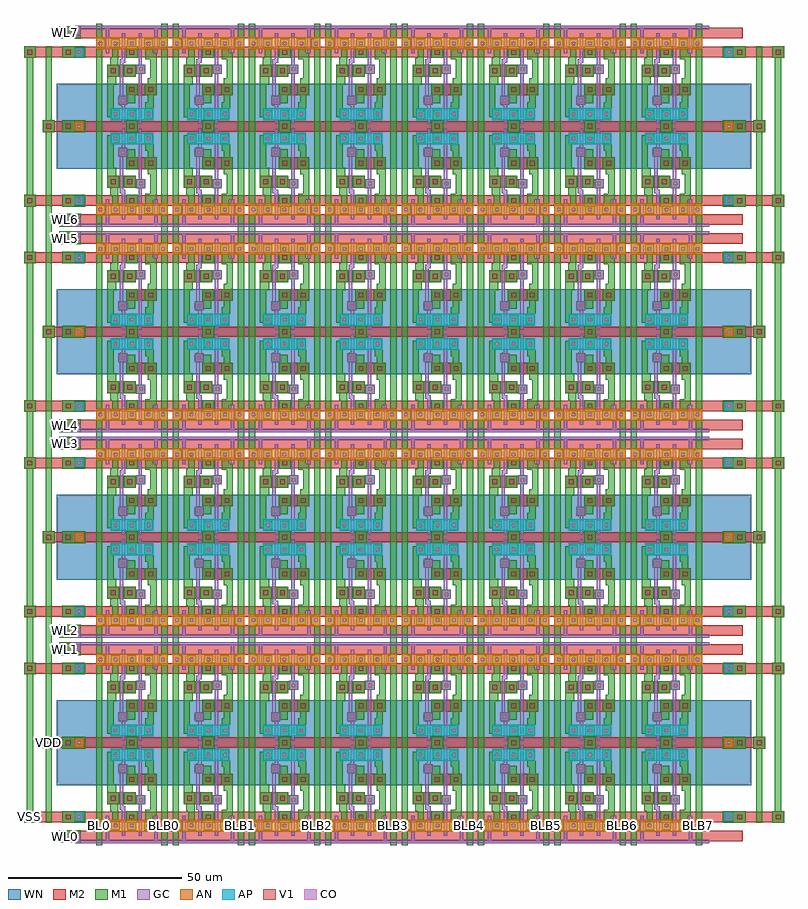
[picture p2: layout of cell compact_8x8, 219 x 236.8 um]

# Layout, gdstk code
import gdstk
lib = gdstk.Library(unit=1e-6, precision=1e-07)
def R(c, l, rs):  # rectangles x0, y0, x1, y1
    for r in rs: c.add(gdstk.rectangle(r[:2], r[2:], *l))
def A(c, l, x, y, w, h, nx, ny, dx, dy):  # array of equal rectangles
    R(c, l, [(x+i*dx, y+j*dy, x+i*dx+w, y+j*dy+h) for i in range(nx) for j in range(ny)])
def P(c, l, *ps):  # polygons
    for p in ps: c.add(gdstk.Polygon(p, *l))
AP = (3, 1)
AN = (3, 2)
GC = (8, 1)
CO = (11, 0)
M1 = (13, 0)
V1 = (19, 0)
M2 = (20, 0)
WN = (140, 0)

compact_core = lib.new_cell('compact_core')
R(compact_core, AP, [(3.5,18.7,15.7,22.1)])
R(compact_core, AN, [(-0.7,-1.7,19.9,1.7)])
R(compact_core, GC, [(0,-5.1,22,-4.1), (2.1,-5.1,3.1,2.9), (16.1,-5.1,17.1,2.9), (6.7,-2.9,7.7,5.6), (11.5,-2.9,12.5,23.3), (6.1,4.6,7.7,5.6), (6.1,4.6,7.1,17.9), (10.9,6.1,13.5,8.7), (11.5,6.9,12.7,7.9), (5.7,15.1,8.3,17.7), (6.1,15.9,7.5,16.9), (6.1,16.9,7.7,17.9), (6.7,16.9,7.7,23.3)])
A(compact_core, CO, 4.3, -0.5, 1, 1, 3, 2, 4.8, 20.4)
R(compact_core, CO, [(0.1,-0.5,1.1,0.5), (18.1,-0.5,19.1,0.5), (11.7,6.9,12.7,7.9), (6.5,15.9,7.5,16.9)])
P(compact_core, M1, [(8.3,-1.3),(8.3,0.8),(7.9,0.8),(7.9,4.2),(11.3,4.2),(11.3,0.8),(10.9,0.8),(10.9,-1.3)],
  [(10.9,6.1),(10.9,6.2),(7.3,6.2),(7.3,9.6),(10.7,9.6),(10.7,8.7),(13.5,8.7),(13.5,6.1)],
  [(7.9,11.6),(7.9,15.1),(5.7,15.1),(5.7,17.7),(8.3,17.7),(8.3,17.3),(10.5,17.3),(10.5,15),(11.3,15),(11.3,11.6)],
  [(3.5,-1.3),(3.5,1.3),(3.9,1.3),(3.9,4.1),(3.3,4.1),(3.3,6.2),(2.5,6.2),(2.5,21.3),(3.5,21.3),(3.5,21.7),(6.1,21.7),(6.1,19.1),(4.3,19.1),(4.3,11.9),(5.1,11.9),(5.1,9.6),(5.9,9.6),(5.9,6.2),(5.7,6.2),(5.7,1.3),(6.1,1.3),(6.1,-1.3)],
  [(13.1,-1.3),(13.1,1.3),(13.5,1.3),(13.5,4.5),(14.9,4.5),(14.9,10.1),(14.1,10.1),(14.1,11.6),(13.3,11.6),(13.3,15),(14.1,15),(14.1,16.9),(13.5,16.9),(13.5,19.1),(13.1,19.1),(13.1,21.7),(15.7,21.7),(15.7,18.7),(15.9,18.7),(15.9,15),(16.7,15),(16.7,2.7),(15.7,2.7),(15.7,-1.3)],
  [(-0.7,-5.7),(-0.7,23.9),(1.1,23.9),(1.1,1.3),(1.9,1.3),(1.9,-1.3),(1.1,-1.3),(1.1,-5.7)],
  [(18.1,-5.7),(18.1,-1.3),(17.3,-1.3),(17.3,1.3),(18.1,1.3),(18.1,23.9),(19.9,23.9),(19.9,-5.7)],
  [(8.3,19.1),(8.3,22.2),(7.9,22.2),(7.9,25.6),(11.3,25.6),(11.3,22.2),(10.9,22.2),(10.9,19.1)])
R(compact_core, V1, [(8.9,1.8,10.3,3.2), (3.5,7.2,4.9,8.6), (8.3,7.2,9.7,8.6), (8.9,12.6,10.3,14), (14.3,12.6,15.7,14), (8.9,23.2,10.3,24.6)])
R(compact_core, M2, [(0,-4.5,22,-1.5), (7.9,0.8,11.3,4.2), (0,1,22,4), (2.5,6.2,5.9,9.6), (2.5,6.2,10.7,9.6), (7.3,6.2,10.7,9.6), (7.9,11.6,11.3,15), (7.9,11.6,16.7,15), (13.3,11.6,16.7,15), (7.9,22.2,11.3,25.6), (0,22.4,22,25.4)])
R(compact_core, WN, [(-3.5,11.7,25.5,29.1)])

compact_8x8 = lib.new_cell('compact_8x8')
R(compact_8x8, AP, [(-6.9,6.9,-4.3,9.5), (180.3,6.9,182.9,9.5), (-6.9,49.7,-4.3,52.3), (180.3,49.7,182.9,52.3), (-6.9,66.1,-4.3,68.7), (180.3,66.1,182.9,68.7), (-6.9,108.9,-4.3,111.5), (180.3,108.9,182.9,111.5), (-6.9,125.3,-4.3,127.9), (180.3,125.3,182.9,127.9), (-6.9,168.1,-4.3,170.7), (180.3,168.1,182.9,170.7), (-6.9,184.5,-4.3,187.1), (180.3,184.5,182.9,187.1), (-6.9,227.3,-4.3,229.9), (180.3,227.3,182.9,229.9)])
A(compact_8x8, AN, -6.9, 28.3, 2.6, 2.6, 1, 4, 0, 59.2)
A(compact_8x8, AN, 180.3, 28.3, 2.6, 2.6, 1, 4, 0, 59.2)
R(compact_8x8, GC, [(-6.9,0.6,-5.9,2.5), (-6.4,0.6,0,1.6), (-7.7,0.7,-5.1,3.3), (-7.7,55.9,-5.1,58.5), (-6.9,56.7,-5.9,58.6), (-6.4,57.6,0,58.6), (-6.9,59.8,-5.9,61.7), (-6.4,59.8,0,60.8), (-7.7,59.9,-5.1,62.5), (-7.7,115.1,-5.1,117.7), (-6.9,115.9,-5.9,117.8), (-6.4,116.8,0,117.8), (-6.9,119,-5.9,120.9), (-6.4,119,0,120), (-7.7,119.1,-5.1,121.7), (-7.7,174.3,-5.1,176.9), (-6.9,175.1,-5.9,177), (-6.4,176,0,177), (-6.9,178.2,-5.9,180.1), (-6.4,178.2,0,179.2), (-7.7,178.3,-5.1,180.9), (-7.7,233.5,-5.1,236.1), (-6.9,234.3,-5.9,236.2), (-6.4,235.2,0,236.2)])
A(compact_8x8, CO, -6.1, 7.7, 1, 1, 1, 3, 0, 21.4)
A(compact_8x8, CO, 181.1, 7.7, 1, 1, 1, 3, 0, 21.4)
A(compact_8x8, CO, -6.1, 66.9, 1, 1, 1, 3, 0, 21.4)
A(compact_8x8, CO, 181.1, 66.9, 1, 1, 1, 3, 0, 21.4)
A(compact_8x8, CO, -6.1, 126.1, 1, 1, 1, 3, 0, 21.4)
A(compact_8x8, CO, 181.1, 126.1, 1, 1, 1, 3, 0, 21.4)
A(compact_8x8, CO, -6.1, 185.3, 1, 1, 1, 3, 0, 21.4)
A(compact_8x8, CO, 181.1, 185.3, 1, 1, 1, 3, 0, 21.4)
R(compact_8x8, CO, [(-6.9,1.5,-5.9,2.5), (-6.9,56.7,-5.9,57.7), (-6.9,60.7,-5.9,61.7), (-6.9,115.9,-5.9,116.9), (-6.9,119.9,-5.9,120.9), (-6.9,175.1,-5.9,176.1), (-6.9,179.1,-5.9,180.1), (-6.9,234.3,-5.9,235.3)])
A(compact_8x8, M1, -10.5, 6.5, 6.6, 3.4, 1, 3, 0, 21.4)
A(compact_8x8, M1, -10.5, 6.5, 3.4, 3.4, 1, 3, 0, 21.4)
A(compact_8x8, M1, 179.9, 6.5, 6.6, 3.4, 1, 3, 0, 21.4)
A(compact_8x8, M1, 183.1, 6.5, 3.4, 3.4, 1, 3, 0, 21.4)
A(compact_8x8, M1, -6.9, 6.9, 2.6, 2.6, 1, 3, 0, 21.4)
A(compact_8x8, M1, 180.3, 6.9, 2.6, 2.6, 1, 3, 0, 21.4)
A(compact_8x8, M1, -16.1, 27.9, 3.4, 3.4, 1, 4, 0, 59.2)
A(compact_8x8, M1, 188.7, 27.9, 3.4, 3.4, 1, 4, 0, 59.2)
A(compact_8x8, M1, -10.5, 65.7, 6.6, 3.4, 1, 3, 0, 21.4)
A(compact_8x8, M1, -10.5, 65.7, 3.4, 3.4, 1, 3, 0, 21.4)
A(compact_8x8, M1, 179.9, 65.7, 6.6, 3.4, 1, 3, 0, 21.4)
A(compact_8x8, M1, 183.1, 65.7, 3.4, 3.4, 1, 3, 0, 21.4)
A(compact_8x8, M1, -6.9, 66.1, 2.6, 2.6, 1, 3, 0, 21.4)
A(compact_8x8, M1, 180.3, 66.1, 2.6, 2.6, 1, 3, 0, 21.4)
A(compact_8x8, M1, -10.5, 124.9, 6.6, 3.4, 1, 3, 0, 21.4)
A(compact_8x8, M1, -10.5, 124.9, 3.4, 3.4, 1, 3, 0, 21.4)
A(compact_8x8, M1, 179.9, 124.9, 6.6, 3.4, 1, 3, 0, 21.4)
A(compact_8x8, M1, 183.1, 124.9, 3.4, 3.4, 1, 3, 0, 21.4)
A(compact_8x8, M1, -6.9, 125.3, 2.6, 2.6, 1, 3, 0, 21.4)
A(compact_8x8, M1, 180.3, 125.3, 2.6, 2.6, 1, 3, 0, 21.4)
A(compact_8x8, M1, -10.5, 184.1, 6.6, 3.4, 1, 3, 0, 21.4)
A(compact_8x8, M1, -10.5, 184.1, 3.4, 3.4, 1, 3, 0, 21.4)
A(compact_8x8, M1, 179.9, 184.1, 6.6, 3.4, 1, 3, 0, 21.4)
A(compact_8x8, M1, 183.1, 184.1, 3.4, 3.4, 1, 3, 0, 21.4)
A(compact_8x8, M1, -6.9, 184.5, 2.6, 2.6, 1, 3, 0, 21.4)
A(compact_8x8, M1, 180.3, 184.5, 2.6, 2.6, 1, 3, 0, 21.4)
R(compact_8x8, M1, [(-11.3,0.7,-5.1,4.4), (-7.7,0.7,-5.1,3.3), (-11.3,1,-7.9,4.4), (-21.5,6.5,-18.1,9.9), (-20.7,6.5,-18.9,230.3), (-15.3,6.5,-13.5,230.3), (189.5,6.5,191.3,230.3), (194.1,6.5,197.5,9.9), (194.9,6.5,196.7,230.3), (-21.5,49.3,-18.1,52.7), (194.1,49.3,197.5,52.7), (-11.3,54.8,-7.9,58.2), (-11.3,54.8,-5.1,58.5), (-7.7,55.9,-5.1,58.5), (-11.3,59.9,-5.1,63.6), (-7.7,59.9,-5.1,62.5), (-11.3,60.2,-7.9,63.6), (-21.5,65.7,-18.1,69.1), (194.1,65.7,197.5,69.1), (-21.5,108.5,-18.1,111.9), (194.1,108.5,197.5,111.9), (-11.3,114,-7.9,117.4), (-11.3,114,-5.1,117.7), (-7.7,115.1,-5.1,117.7), (-11.3,119.1,-5.1,122.8), (-7.7,119.1,-5.1,121.7), (-11.3,119.4,-7.9,122.8), (-21.5,124.9,-18.1,128.3), (194.1,124.9,197.5,128.3), (-21.5,167.7,-18.1,171.1), (194.1,167.7,197.5,171.1), (-11.3,173.2,-7.9,176.6), (-11.3,173.2,-5.1,176.9), (-7.7,174.3,-5.1,176.9), (-11.3,178.3,-5.1,182), (-7.7,178.3,-5.1,180.9), (-11.3,178.6,-7.9,182), (-21.5,184.1,-18.1,187.5), (194.1,184.1,197.5,187.5), (-21.5,226.9,-18.1,230.3), (194.1,226.9,197.5,230.3), (-11.3,232.4,-7.9,235.8), (-11.3,232.4,-5.1,236.1), (-7.7,233.5,-5.1,236.1)])
A(compact_8x8, V1, -9.5, 7.5, 1.4, 1.4, 1, 3, 0, 21.4)
A(compact_8x8, V1, 184.1, 7.5, 1.4, 1.4, 1, 3, 0, 21.4)
A(compact_8x8, V1, -15.1, 28.9, 1.4, 1.4, 1, 4, 0, 59.2)
A(compact_8x8, V1, 189.7, 28.9, 1.4, 1.4, 1, 4, 0, 59.2)
A(compact_8x8, V1, -9.5, 66.7, 1.4, 1.4, 1, 3, 0, 21.4)
A(compact_8x8, V1, 184.1, 66.7, 1.4, 1.4, 1, 3, 0, 21.4)
A(compact_8x8, V1, -9.5, 125.9, 1.4, 1.4, 1, 3, 0, 21.4)
A(compact_8x8, V1, 184.1, 125.9, 1.4, 1.4, 1, 3, 0, 21.4)
A(compact_8x8, V1, -9.5, 185.1, 1.4, 1.4, 1, 3, 0, 21.4)
A(compact_8x8, V1, 184.1, 185.1, 1.4, 1.4, 1, 3, 0, 21.4)
R(compact_8x8, V1, [(-10.3,2,-8.9,3.4), (-20.5,7.5,-19.1,8.9), (195.1,7.5,196.5,8.9), (-20.5,50.3,-19.1,51.7), (195.1,50.3,196.5,51.7), (-10.3,55.8,-8.9,57.2), (-10.3,61.2,-8.9,62.6), (-20.5,66.7,-19.1,68.1), (195.1,66.7,196.5,68.1), (-20.5,109.5,-19.1,110.9), (195.1,109.5,196.5,110.9), (-10.3,115,-8.9,116.4), (-10.3,120.4,-8.9,121.8), (-20.5,125.9,-19.1,127.3), (195.1,125.9,196.5,127.3), (-20.5,168.7,-19.1,170.1), (195.1,168.7,196.5,170.1), (-10.3,174.2,-8.9,175.6), (-10.3,179.6,-8.9,181), (-20.5,185.1,-19.1,186.5), (195.1,185.1,196.5,186.5), (-20.5,227.9,-19.1,229.3), (195.1,227.9,196.5,229.3), (-10.3,233.4,-8.9,234.8)])
A(compact_8x8, M2, -10.5, 6.5, 3.4, 3.4, 1, 3, 0, 21.4)
A(compact_8x8, M2, 183.1, 6.5, 3.4, 3.4, 1, 3, 0, 21.4)
A(compact_8x8, M2, -16.1, 27.9, 3.4, 3.4, 1, 4, 0, 59.2)
A(compact_8x8, M2, 188.7, 27.9, 3.4, 3.4, 1, 4, 0, 59.2)
A(compact_8x8, M2, -16.1, 28.1, 193.8, 3, 1, 4, 0, 59.2)
A(compact_8x8, M2, -1.7, 28.1, 193.8, 3, 1, 4, 0, 59.2)
A(compact_8x8, M2, -10.5, 65.7, 3.4, 3.4, 1, 3, 0, 21.4)
A(compact_8x8, M2, 183.1, 65.7, 3.4, 3.4, 1, 3, 0, 21.4)
A(compact_8x8, M2, -10.5, 124.9, 3.4, 3.4, 1, 3, 0, 21.4)
A(compact_8x8, M2, 183.1, 124.9, 3.4, 3.4, 1, 3, 0, 21.4)
A(compact_8x8, M2, -10.5, 184.1, 3.4, 3.4, 1, 3, 0, 21.4)
A(compact_8x8, M2, 183.1, 184.1, 3.4, 3.4, 1, 3, 0, 21.4)
R(compact_8x8, M2, [(-11.3,1,-7.9,4.4), (-9.6,1.2,185.6,4.2), (-21.5,6.5,-18.1,9.9), (194.1,6.5,197.5,9.9), (-21.5,6.7,177.7,9.7), (-1.7,6.7,197.5,9.7), (-21.5,49.3,-18.1,52.7), (194.1,49.3,197.5,52.7), (-21.5,49.5,177.7,52.5), (-1.7,49.5,197.5,52.5), (-11.3,54.8,-7.9,58.2), (-9.6,55,185.6,58), (-11.3,60.2,-7.9,63.6), (-9.6,60.4,185.6,63.4), (-21.5,65.7,-18.1,69.1), (194.1,65.7,197.5,69.1), (-21.5,65.9,177.7,68.9), (-1.7,65.9,197.5,68.9), (-21.5,108.5,-18.1,111.9), (194.1,108.5,197.5,111.9), (-21.5,108.7,177.7,111.7), (-1.7,108.7,197.5,111.7), (-11.3,114,-7.9,117.4), (-9.6,114.2,185.6,117.2), (-11.3,119.4,-7.9,122.8), (-9.6,119.6,185.6,122.6), (-21.5,124.9,-18.1,128.3), (194.1,124.9,197.5,128.3), (-21.5,125.1,177.7,128.1), (-1.7,125.1,197.5,128.1), (-21.5,167.7,-18.1,171.1), (194.1,167.7,197.5,171.1), (-21.5,167.9,177.7,170.9), (-1.7,167.9,197.5,170.9), (-11.3,173.2,-7.9,176.6), (-9.6,173.4,185.6,176.4), (-11.3,178.6,-7.9,182), (-9.6,178.8,185.6,181.8), (-21.5,184.1,-18.1,187.5), (194.1,184.1,197.5,187.5), (-21.5,184.3,177.7,187.3), (-1.7,184.3,197.5,187.3), (-21.5,226.9,-18.1,230.3), (194.1,226.9,197.5,230.3), (-21.5,227.1,177.7,230.1), (-1.7,227.1,197.5,230.1), (-11.3,232.4,-7.9,235.8), (-9.6,232.6,185.6,235.6)])
A(compact_8x8, WN, -12, 17.4, 200, 24.4, 1, 4, 0, 59.2)
A(compact_8x8, WN, 0, 17.4, 188, 24.4, 1, 4, 0, 59.2)
compact_8x8.add(gdstk.Reference(compact_core, (0,5.7)))
compact_8x8.add(gdstk.Reference(compact_core, (22,5.7)))
compact_8x8.add(gdstk.Reference(compact_core, (44,5.7)))
compact_8x8.add(gdstk.Reference(compact_core, (66,5.7)))
compact_8x8.add(gdstk.Reference(compact_core, (88,5.7)))
compact_8x8.add(gdstk.Reference(compact_core, (110,5.7)))
compact_8x8.add(gdstk.Reference(compact_core, (132,5.7)))
compact_8x8.add(gdstk.Reference(compact_core, (154,5.7)))
compact_8x8.add(gdstk.Reference(compact_core, (0,53.5), x_reflection=True))
compact_8x8.add(gdstk.Reference(compact_core, (22,53.5), x_reflection=True))
compact_8x8.add(gdstk.Reference(compact_core, (44,53.5), x_reflection=True))
compact_8x8.add(gdstk.Reference(compact_core, (66,53.5), x_reflection=True))
compact_8x8.add(gdstk.Reference(compact_core, (88,53.5), x_reflection=True))
compact_8x8.add(gdstk.Reference(compact_core, (110,53.5), x_reflection=True))
compact_8x8.add(gdstk.Reference(compact_core, (132,53.5), x_reflection=True))
compact_8x8.add(gdstk.Reference(compact_core, (154,53.5), x_reflection=True))
compact_8x8.add(gdstk.Reference(compact_core, (0,64.9)))
compact_8x8.add(gdstk.Reference(compact_core, (22,64.9)))
compact_8x8.add(gdstk.Reference(compact_core, (44,64.9)))
compact_8x8.add(gdstk.Reference(compact_core, (66,64.9)))
compact_8x8.add(gdstk.Reference(compact_core, (88,64.9)))
compact_8x8.add(gdstk.Reference(compact_core, (110,64.9)))
compact_8x8.add(gdstk.Reference(compact_core, (132,64.9)))
compact_8x8.add(gdstk.Reference(compact_core, (154,64.9)))
compact_8x8.add(gdstk.Reference(compact_core, (0,112.7), x_reflection=True))
compact_8x8.add(gdstk.Reference(compact_core, (22,112.7), x_reflection=True))
compact_8x8.add(gdstk.Reference(compact_core, (44,112.7), x_reflection=True))
compact_8x8.add(gdstk.Reference(compact_core, (66,112.7), x_reflection=True))
compact_8x8.add(gdstk.Reference(compact_core, (88,112.7), x_reflection=True))
compact_8x8.add(gdstk.Reference(compact_core, (110,112.7), x_reflection=True))
compact_8x8.add(gdstk.Reference(compact_core, (132,112.7), x_reflection=True))
compact_8x8.add(gdstk.Reference(compact_core, (154,112.7), x_reflection=True))
compact_8x8.add(gdstk.Reference(compact_core, (0,124.1)))
compact_8x8.add(gdstk.Reference(compact_core, (22,124.1)))
compact_8x8.add(gdstk.Reference(compact_core, (44,124.1)))
compact_8x8.add(gdstk.Reference(compact_core, (66,124.1)))
compact_8x8.add(gdstk.Reference(compact_core, (88,124.1)))
compact_8x8.add(gdstk.Reference(compact_core, (110,124.1)))
compact_8x8.add(gdstk.Reference(compact_core, (132,124.1)))
compact_8x8.add(gdstk.Reference(compact_core, (154,124.1)))
compact_8x8.add(gdstk.Reference(compact_core, (0,171.9), x_reflection=True))
compact_8x8.add(gdstk.Reference(compact_core, (22,171.9), x_reflection=True))
compact_8x8.add(gdstk.Reference(compact_core, (44,171.9), x_reflection=True))
compact_8x8.add(gdstk.Reference(compact_core, (66,171.9), x_reflection=True))
compact_8x8.add(gdstk.Reference(compact_core, (88,171.9), x_reflection=True))
compact_8x8.add(gdstk.Reference(compact_core, (110,171.9), x_reflection=True))
compact_8x8.add(gdstk.Reference(compact_core, (132,171.9), x_reflection=True))
compact_8x8.add(gdstk.Reference(compact_core, (154,171.9), x_reflection=True))
compact_8x8.add(gdstk.Reference(compact_core, (0,183.3)))
compact_8x8.add(gdstk.Reference(compact_core, (22,183.3)))
compact_8x8.add(gdstk.Reference(compact_core, (44,183.3)))
compact_8x8.add(gdstk.Reference(compact_core, (66,183.3)))
compact_8x8.add(gdstk.Reference(compact_core, (88,183.3)))
compact_8x8.add(gdstk.Reference(compact_core, (110,183.3)))
compact_8x8.add(gdstk.Reference(compact_core, (132,183.3)))
compact_8x8.add(gdstk.Reference(compact_core, (154,183.3)))
compact_8x8.add(gdstk.Reference(compact_core, (0,231.1), x_reflection=True))
compact_8x8.add(gdstk.Reference(compact_core, (22,231.1), x_reflection=True))
compact_8x8.add(gdstk.Reference(compact_core, (44,231.1), x_reflection=True))
compact_8x8.add(gdstk.Reference(compact_core, (66,231.1), x_reflection=True))
compact_8x8.add(gdstk.Reference(compact_core, (88,231.1), x_reflection=True))
compact_8x8.add(gdstk.Reference(compact_core, (110,231.1), x_reflection=True))
compact_8x8.add(gdstk.Reference(compact_core, (132,231.1), x_reflection=True))
compact_8x8.add(gdstk.Reference(compact_core, (154,231.1), x_reflection=True))
compact_8x8.add(gdstk.Label('WL0', (-9.6,2.7), layer=49, texttype=0))
compact_8x8.add(gdstk.Label('WL1', (-9.6,56.5), layer=49, texttype=0))
compact_8x8.add(gdstk.Label('WL2', (-9.6,61.9), layer=49, texttype=0))
compact_8x8.add(gdstk.Label('WL3', (-9.6,115.7), layer=49, texttype=0))
compact_8x8.add(gdstk.Label('WL4', (-9.6,121.1), layer=49, texttype=0))
compact_8x8.add(gdstk.Label('WL5', (-9.6,174.9), layer=49, texttype=0))
compact_8x8.add(gdstk.Label('WL6', (-9.6,180.3), layer=49, texttype=0))
compact_8x8.add(gdstk.Label('WL7', (-9.6,234.1), layer=49, texttype=0))
compact_8x8.add(gdstk.Label('VDD', (-14.4,29.6), layer=48, texttype=0))
compact_8x8.add(gdstk.Label('VSS', (-19.8,8.2), layer=48, texttype=0))
compact_8x8.add(gdstk.Label('BL0', (0.2,5.7), layer=48, texttype=0))
compact_8x8.add(gdstk.Label('BLB0', (19,5.7), layer=48, texttype=0))
compact_8x8.add(gdstk.Label('BL1', (22.2,5.7), layer=48, texttype=0))
compact_8x8.add(gdstk.Label('BLB1', (41,5.7), layer=48, texttype=0))
compact_8x8.add(gdstk.Label('BL2', (44.2,5.7), layer=48, texttype=0))
compact_8x8.add(gdstk.Label('BLB2', (63,5.7), layer=48, texttype=0))
compact_8x8.add(gdstk.Label('BL3', (66.2,5.7), layer=48, texttype=0))
compact_8x8.add(gdstk.Label('BLB3', (85,5.7), layer=48, texttype=0))
compact_8x8.add(gdstk.Label('BL4', (88.2,5.7), layer=48, texttype=0))
compact_8x8.add(gdstk.Label('BLB4', (107,5.7), layer=48, texttype=0))
compact_8x8.add(gdstk.Label('BL5', (110.2,5.7), layer=48, texttype=0))
compact_8x8.add(gdstk.Label('BLB5', (129,5.7), layer=48, texttype=0))
compact_8x8.add(gdstk.Label('BL6', (132.2,5.7), layer=48, texttype=0))
compact_8x8.add(gdstk.Label('BLB6', (151,5.7), layer=48, texttype=0))
compact_8x8.add(gdstk.Label('BL7', (154.2,5.7), layer=48, texttype=0))
compact_8x8.add(gdstk.Label('BLB7', (173,5.7), layer=48, texttype=0))

lib.write_gds('compact_8x8.gds')
